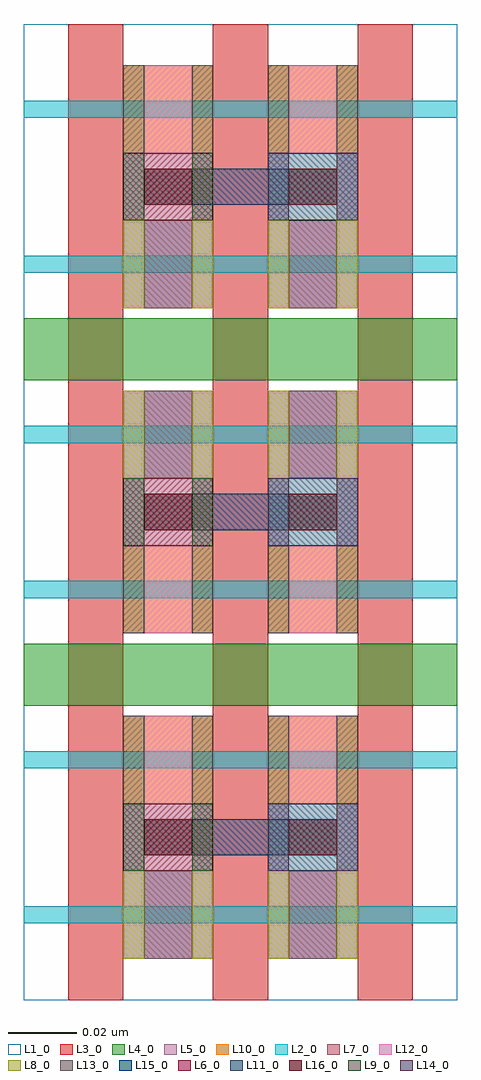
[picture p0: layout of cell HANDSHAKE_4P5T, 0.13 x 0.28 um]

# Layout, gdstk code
import gdstk
lib = gdstk.Library(unit=1e-6, precision=1e-11)
def R(c, l, rs):  # rectangles x0, y0, x1, y1
    for r in rs: c.add(gdstk.rectangle(r[:2], r[2:], *l))
def A(c, l, x, y, w, h, nx, ny, dx, dy):  # array of equal rectangles
    R(c, l, [(x+i*dx, y+j*dy, x+i*dx+w, y+j*dy+h) for i in range(nx) for j in range(ny)])
L1_0 = (1, 0)
L2_0 = (2, 0)
L3_0 = (3, 0)
L4_0 = (4, 0)
L5_0 = (5, 0)
L6_0 = (6, 0)
L7_0 = (7, 0)
L8_0 = (8, 0)
L9_0 = (9, 0)
L10_0 = (10, 0)
L11_0 = (11, 0)
L12_0 = (12, 0)
L13_0 = (13, 0)
L14_0 = (14, 0)
L15_0 = (15, 0)
L16_0 = (16, 0)

handshake_4p5t = lib.new_cell('HANDSHAKE_4P5T')
R(handshake_4p5t, L1_0, [(0,0,0.126,0.2835)])
R(handshake_4p5t, L2_0, [(0,0.0223,0.126,0.0273), (0,0.0673,0.126,0.0723), (0,0.1168,0.126,0.1218), (0,0.1618,0.126,0.1668), (0,0.2113,0.126,0.2163), (0,0.2563,0.126,0.2613)])
A(handshake_4p5t, L3_0, 0.013, 0, 0.016, 0.2835, 3, 1, 0.042, 0)
R(handshake_4p5t, L4_0, [(0,0.0855,0.126,0.1035), (0,0.18,0.126,0.198)])
R(handshake_4p5t, L5_0, [(0.029,0.012,0.055,0.0375), (0.071,0.012,0.097,0.0375), (0.029,0.1515,0.055,0.177), (0.071,0.1515,0.097,0.177), (0.029,0.201,0.055,0.2265), (0.071,0.201,0.097,0.2265)])
A(handshake_4p5t, L6_0, 0.029, 0.0375, 0.026, 0.0195, 1, 3, 0, 0.0945)
R(handshake_4p5t, L7_0, [(0.035,0.012,0.049,0.0375), (0.077,0.012,0.091,0.0375), (0.035,0.1515,0.049,0.177), (0.077,0.1515,0.091,0.177), (0.035,0.201,0.049,0.2265), (0.077,0.201,0.091,0.2265)])
R(handshake_4p5t, L8_0, [(0.029,0.012,0.035,0.0375), (0.049,0.012,0.055,0.0375), (0.071,0.012,0.077,0.0375), (0.091,0.012,0.097,0.0375), (0.029,0.1515,0.035,0.177), (0.049,0.1515,0.055,0.177), (0.071,0.1515,0.077,0.177), (0.091,0.1515,0.097,0.177), (0.029,0.201,0.035,0.2265), (0.049,0.201,0.055,0.2265), (0.071,0.201,0.077,0.2265), (0.091,0.201,0.097,0.2265)])
A(handshake_4p5t, L9_0, 0.029, 0.0375, 0.006, 0.0195, 1, 3, 0, 0.0945)
A(handshake_4p5t, L9_0, 0.049, 0.0375, 0.006, 0.0195, 1, 3, 0, 0.0945)
R(handshake_4p5t, L10_0, [(0.029,0.057,0.055,0.0825), (0.071,0.057,0.097,0.0825), (0.029,0.1065,0.055,0.132), (0.071,0.1065,0.097,0.132), (0.029,0.246,0.055,0.2715), (0.071,0.246,0.097,0.2715)])
A(handshake_4p5t, L11_0, 0.071, 0.0375, 0.026, 0.0195, 1, 3, 0, 0.0945)
R(handshake_4p5t, L12_0, [(0.035,0.057,0.049,0.0825), (0.077,0.057,0.091,0.0825), (0.035,0.1065,0.049,0.132), (0.077,0.1065,0.091,0.132), (0.035,0.246,0.049,0.2715), (0.077,0.246,0.091,0.2715)])
R(handshake_4p5t, L13_0, [(0.029,0.057,0.035,0.0825), (0.049,0.057,0.055,0.0825), (0.071,0.057,0.077,0.0825), (0.091,0.057,0.097,0.0825), (0.029,0.1065,0.035,0.132), (0.049,0.1065,0.055,0.132), (0.071,0.1065,0.077,0.132), (0.091,0.1065,0.097,0.132), (0.029,0.246,0.035,0.2715), (0.049,0.246,0.055,0.2715), (0.071,0.246,0.077,0.2715), (0.091,0.246,0.097,0.2715)])
A(handshake_4p5t, L14_0, 0.071, 0.0375, 0.006, 0.0195, 1, 3, 0, 0.0945)
A(handshake_4p5t, L14_0, 0.091, 0.0375, 0.006, 0.0195, 1, 3, 0, 0.0945)
A(handshake_4p5t, L15_0, 0.035, 0.042, 0.056, 0.0105, 1, 3, 0, 0.0945)
A(handshake_4p5t, L16_0, 0.035, 0.042, 0.014, 0.0105, 1, 3, 0, 0.0945)
A(handshake_4p5t, L16_0, 0.077, 0.042, 0.014, 0.0105, 1, 3, 0, 0.0945)

lib.write_gds('HANDSHAKE_4P5T.gds')
